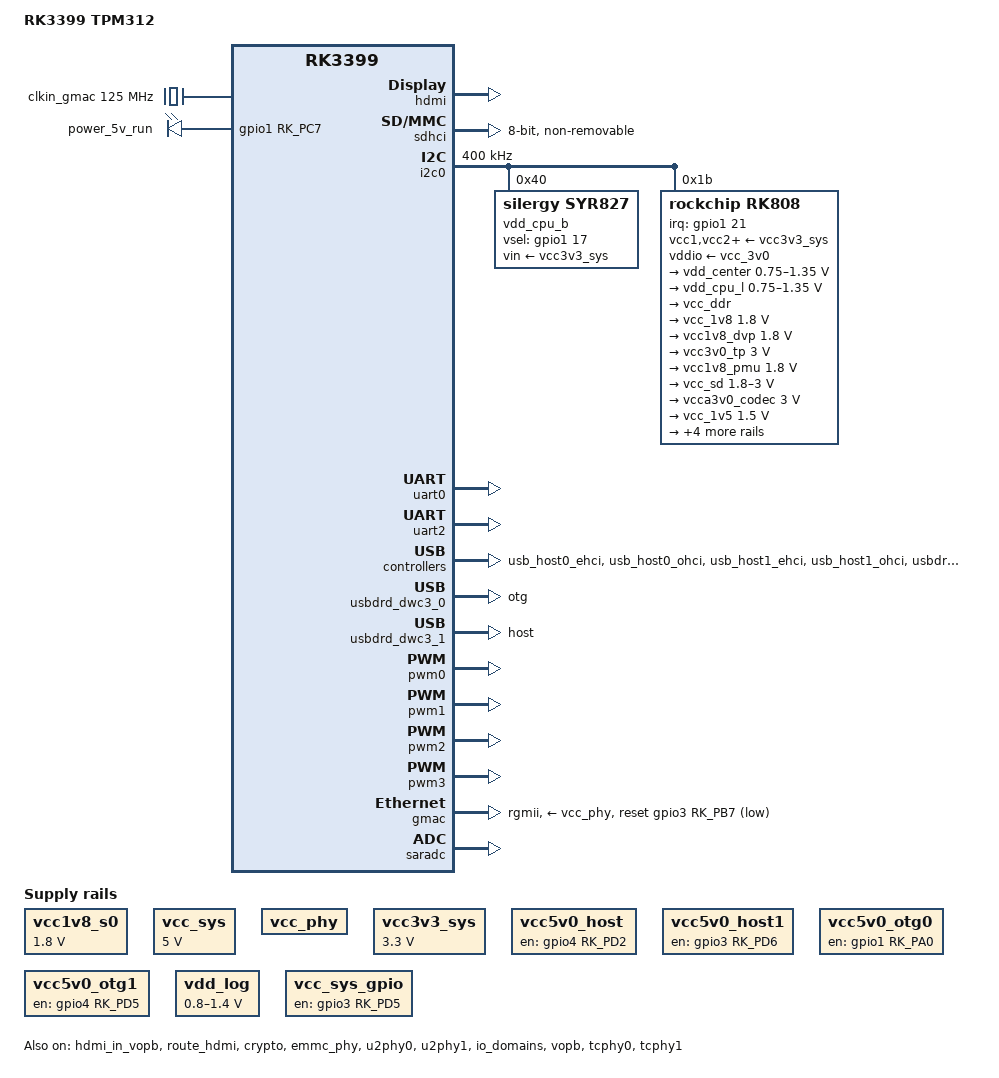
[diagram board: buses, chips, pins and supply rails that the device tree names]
/*
 * (C) Copyright 2016 Rockchip Electronics Co., Ltd
 *
 * SPDX-License-Identifier:     GPL-2.0+
 */

/dts-v1/;
#include <dt-bindings/pwm/pwm.h>
#include <dt-bindings/pinctrl/rockchip.h>
#include "rk3399.dtsi"
#include "rk3399-u-boot.dtsi"
#include <linux/media-bus-format.h>
#include <dt-bindings/input/input.h>

/ {
    model = "RK3399 TPM312";
    compatible = "rk3399,tpm312", "rockchip,rk3399";


    vcc1v8_s0: vcc1v8-s0 {
        compatible = "regulator-fixed";
        regulator-name = "vcc1v8_s0";
        regulator-min-microvolt = <1800000>;
        regulator-max-microvolt = <1800000>;
        regulator-always-on;
    };

    vcc_sys: vcc-sys {
        compatible = "regulator-fixed";
        regulator-name = "vcc_sys";
        regulator-min-microvolt = <5000000>;
        regulator-max-microvolt = <5000000>;
        regulator-always-on;
    };

    vcc_phy: vcc-phy-regulator {
        compatible = "regulator-fixed";
        regulator-name = "vcc_phy";
        regulator-always-on;
        regulator-boot-on;
    };

    vcc3v3_sys: vcc3v3-sys {
        compatible = "regulator-fixed";
        regulator-name = "vcc3v3_sys";
        regulator-min-microvolt = <3300000>;
        regulator-max-microvolt = <3300000>;
        regulator-always-on;
    };

    vcc5v0_host: vcc5v0-host0-regulator {
        pinctrl-0 = <&host0_vbus_drv>;
        gpio = <&gpio4 RK_PD2 GPIO_ACTIVE_HIGH>;
        regulator-name = "vcc5v0_host";
        enable-active-high;
        compatible = "regulator-fixed";
        pinctrl-names = "default";
        regulator-always-on;
    };

    vcc5v0_host1: vcc5v0-host1-regulator {
        pinctrl-0 = <&host1_vbus_drv>;
        gpio = <&gpio3 RK_PD6 GPIO_ACTIVE_HIGH>;
        regulator-name = "vcc5v0_host1";
        enable-active-high;
        compatible = "regulator-fixed";
        pinctrl-names = "default";
        regulator-always-on;
    };

    vcc5v0_otg0: vcc5v0-otg0-regulator {
        pinctrl-0 = <&otg0_vbus_drv>;
        gpio = <&gpio1 RK_PA0 GPIO_ACTIVE_HIGH>;
        regulator-name = "vcc5v0_otg0";
        enable-active-high;
        compatible = "regulator-fixed";
        pinctrl-names = "default";
        regulator-always-on;
    };

    vcc5v0_otg1: vcc5v0-otg1-regulator {
        pinctrl-0 = <&otg1_vbus_drv>;
        gpio = <&gpio4 RK_PD5 GPIO_ACTIVE_HIGH>;
        regulator-name = "vcc5v0_otg1";
        enable-active-high;
        compatible = "regulator-fixed";
        pinctrl-names = "default";
        regulator-always-on;
    };

    vdd_log: vdd_log {
        compatible = "pwm-regulator";
        pwms = <&pwm3 0 25000 1>;
        regulator-name = "vdd_log";
        regulator-min-microvolt = <800000>;
        regulator-max-microvolt = <1400000>;
        regulator-always-on;
        regulator-boot-on;
        rockchip,pwm_id = <3>;
        rockchip,pwm_voltage = <900000>;
        //pwm-supply = <&vcc_sys>;
    };

    clkin_gmac: external-gmac-clock {
        compatible = "fixed-clock";
        clock-frequency = <125000000>;
        clock-output-names = "clkin_gmac";
        #clock-cells = <0>;
    };



    leds {
        compatible = "gpio-leds";
        pinctrl-names = "default";
        pinctrl-0 = <&leds_pins>;
        power5v-led {
            gpios = <&gpio1 RK_PC7 GPIO_ACTIVE_HIGH>;
            default-state = "on";
            label = "power_5v_run";
        };
    };

    vcc5v0-sys {
        regulator-boot-on;
        pinctrl-0 = <&vcc5sys_gpio>;
        gpio = <&gpio3 RK_PD5 GPIO_ACTIVE_HIGH>;
        regulator-name = "vcc_sys_gpio";
        enable-active-high;
        compatible = "regulator-fixed";
        pinctrl-names = "default";
        regulator-always-on;
    };
};

&hdmi {
    status = "okay";
    rockchip,phy-table =
        <74250000 0x8009 0x0004 0x0272>,
        <165000000 0x802b 0x0004 0x0209>,
        <297000000 0x8039 0x0005 0x028d>,
        <594000000 0x8039 0x0000 0x019d>,
        <000000000 0x0000 0x0000 0x0000>;
};


&hdmi_in_vopb{
    status = "okay";
};
&hdmi_in_vopl{
    status="disabled";
};

&route_hdmi {
    status = "okay";
};

&dp_in_vopb {
    status = "disabled";
};

&sdmmc {
    status = "disabled";
};
&crypto {
    status = "okay";
};


&emmc_phy {
    status = "okay";
};

&sdio0 {
    status = "disabled";
};

&sdhci {
    bus-width = <8>;
    mmc-hs400-1_8v;
    mmc-hs400-enhanced-strobe;
    supports-emmc;
    non-removable;
    keep-power-in-suspend;
    status = "okay";
};

&i2c0 {
    status = "okay";
    i2c-scl-rising-time-ns = <168>;
    i2c-scl-falling-time-ns = <4>;
    clock-frequency = <400000>;

    vdd_cpu_b: syr827@40 {
        compatible = "silergy,syr827";
        reg = <0x40>;
        regulator-compatible = "fan53555-reg";
        pinctrl-0 = <&vsel1_gpio>;
        vsel-gpios = <&gpio1 17 GPIO_ACTIVE_HIGH>;
        regulator-name = "vdd_cpu_b";
        regulator-min-microvolt = <712500>;
        regulator-max-microvolt = <1500000>;
        regulator-ramp-delay = <1000>;
        fcs,suspend-voltage-selector = <1>;
        regulator-always-on;
        regulator-boot-on;
        vin-supply = <&vcc3v3_sys>;
        regulator-state-mem {
            regulator-off-in-suspend;
        };
    };
    rk808: pmic@1b {
        compatible = "rockchip,rk808";
        reg = <0x1b>;
        interrupt-parent = <&gpio1>;
        interrupts = <21 IRQ_TYPE_LEVEL_LOW>;
        pinctrl-names = "default";
        pinctrl-0 = <&pmic_int_l &pmic_dvs2>;
        rockchip,system-power-controller;
        wakeup-source;
        #clock-cells = <1>;
        status = "okay";
        clock-output-names = "xin32k", "rk808-clkout2";

        vcc1-supply = <&vcc3v3_sys>;
        vcc2-supply = <&vcc3v3_sys>;
        vcc3-supply = <&vcc3v3_sys>;
        vcc4-supply = <&vcc3v3_sys>;
        vcc6-supply = <&vcc3v3_sys>;
        vcc7-supply = <&vcc3v3_sys>;
        vcc8-supply = <&vcc3v3_sys>;
        vcc9-supply = <&vcc3v3_sys>;
        vcc10-supply = <&vcc3v3_sys>;
        vcc11-supply = <&vcc3v3_sys>;
        vcc12-supply = <&vcc3v3_sys>;
        vddio-supply = <&vcc_3v0>;

        regulators {
            vdd_center: DCDC_REG1 {
                regulator-name = "vdd_center";
                regulator-min-microvolt = <750000>;
                regulator-max-microvolt = <1350000>;
                regulator-ramp-delay = <6001>;
                regulator-always-on;
                regulator-boot-on;
                regulator-state-mem {
                    regulator-off-in-suspend;
                };
            };

            vdd_cpu_l: DCDC_REG2 {
                regulator-name = "vdd_cpu_l";
                regulator-min-microvolt = <750000>;
                regulator-max-microvolt = <1350000>;
                regulator-ramp-delay = <6001>;
                regulator-always-on;
                regulator-boot-on;
                regulator-state-mem {
                    regulator-off-in-suspend;
                };
            };

            vcc_ddr: DCDC_REG3 {
                regulator-name = "vcc_ddr";
                regulator-always-on;
                regulator-boot-on;
                regulator-state-mem {
                    regulator-on-in-suspend;
                };
            };

            vcc_1v8: DCDC_REG4 {
                regulator-name = "vcc_1v8";
                regulator-min-microvolt = <1800000>;
                regulator-max-microvolt = <1800000>;
                regulator-always-on;
                regulator-boot-on;
                regulator-state-mem {
                    regulator-on-in-suspend;
                    regulator-suspend-microvolt = <1800000>;
                };
            };

            vcc1v8_dvp: LDO_REG1 {
                regulator-name = "vcc1v8_dvp";
                regulator-min-microvolt = <1800000>;
                regulator-max-microvolt = <1800000>;
                regulator-always-on;
                regulator-boot-on;
                regulator-state-mem {
                    regulator-on-in-suspend;
                };
            };

            vcc3v0_tp: LDO_REG2 {
                regulator-name = "vcc3v0_tp";
                regulator-min-microvolt = <3000000>;
                regulator-max-microvolt = <3000000>;
                regulator-always-on;
                regulator-boot-on;
                regulator-state-mem {
                    regulator-off-in-suspend;
                };
            };

            vcc1v8_pmu: LDO_REG3 {
                regulator-name = "vcc1v8_pmu";
                regulator-min-microvolt = <1800000>;
                regulator-max-microvolt = <1800000>;
                regulator-always-on;
                regulator-boot-on;
                regulator-state-mem {
                    regulator-on-in-suspend;
                    regulator-suspend-microvolt = <1800000>;
                };
            };

            vcc_sd: LDO_REG4 {
                regulator-name = "vcc_sd";
                regulator-min-microvolt = <1800000>;
                regulator-max-microvolt = <3000000>;
                regulator-always-on;
                regulator-boot-on;
                regulator-state-mem {
                    regulator-on-in-suspend;
                    regulator-suspend-microvolt = <3000000>;
                };
            };

            vcca3v0_codec: LDO_REG5 {
                regulator-name = "vcca3v0_codec";
                regulator-min-microvolt = <3000000>;
                regulator-max-microvolt = <3000000>;
                regulator-always-on;
                regulator-boot-on;
                regulator-state-mem {
                    regulator-off-in-suspend;
                };
            };

            vcc_1v5: LDO_REG6 {
                regulator-name = "vcc_1v5";
                regulator-min-microvolt = <1500000>;
                regulator-max-microvolt = <1500000>;
                regulator-always-on;
                regulator-boot-on;
                regulator-state-mem {
                    regulator-on-in-suspend;
                    regulator-suspend-microvolt = <1500000>;
                };
            };

            vcca1v8_codec: LDO_REG7 {
                regulator-name = "vcca1v8_codec";
                regulator-min-microvolt = <1800000>;
                regulator-max-microvolt = <1800000>;
                regulator-always-on;
                regulator-boot-on;
                regulator-state-mem {
                    regulator-off-in-suspend;
                };
            };

            vcc_3v0: LDO_REG8 {
                regulator-name = "vcc_3v0";
                regulator-min-microvolt = <3000000>;
                regulator-max-microvolt = <3000000>;
                regulator-always-on;
                regulator-boot-on;
                regulator-state-mem {
                    regulator-on-in-suspend;
                    regulator-suspend-microvolt = <3000000>;
                };
            };

            vcc3v3_s3: SWITCH_REG1 {
                regulator-name = "vcc3v3_s3";
                regulator-always-on;
                regulator-boot-on;
                regulator-state-mem {
                    regulator-off-in-suspend;
                };
            };

            vcc3v3_s0: SWITCH_REG2 {
                regulator-name = "vcc3v3_s0";
                regulator-always-on;
                regulator-boot-on;
                regulator-state-mem {
                    regulator-off-in-suspend;
                };
            };
        };
    };
};

&cpu_l0 {
    cpu-supply = <&vdd_cpu_l>;
};

&cpu_l1 {
    cpu-supply = <&vdd_cpu_l>;
};

&cpu_l2 {
    cpu-supply = <&vdd_cpu_l>;
};

&cpu_l3 {
    cpu-supply = <&vdd_cpu_l>;
};

&cpu_b0 {
    cpu-supply = <&vdd_cpu_b>;
};

&cpu_b1 {
    cpu-supply = <&vdd_cpu_b>;
};

&u2phy0 {
    status = "okay";

    u2phy0_otg: otg-port {
        vbus-supply = <&vcc5v0_otg0>;
        status = "okay";
    };

    u2phy0_host: host-port {
        vbus-supply = <&host0_vbus_drv>;
        status = "okay";
    };
};

&u2phy1 {
    status = "okay";

    u2phy1_otg: otg-port {
        vbus-supply = <&vcc5v0_otg1>;
        status = "okay";
    };

    u2phy1_host: host-port {
        vbus-supply = <&host1_vbus_drv>;
        status = "okay";
    };
};

&uart0 {
    pinctrl-names = "default";
    status = "okay";
};

&uart1 {
    status = "disabled";
};

&uart2 {
    status = "okay";
};


&usb_host0_ehci {
    status = "okay";
};

&usb_host0_ohci {
    status = "okay";
};

&usb_host1_ehci {
    status = "okay";
};

&usb_host1_ohci {
    status = "okay";
};

&usbdrd3_0 {
    extcon = <&u2phy0>;
    status = "okay";
};

&usbdrd_dwc3_0 {
    dr_mode = "otg";
    status = "okay";
};

&usbdrd3_1 {
    status = "okay";
};

&usbdrd_dwc3_1 {
    dr_mode = "host";
    status = "okay";
};


&pwm0 {
    status = "okay";
};

&pwm1 {
    status = "okay";
};

&pwm2 {
    status = "okay";
};

&pwm3 {
    status = "okay";
};

&gmac {
    assigned-clocks = <&cru SCLK_RMII_SRC>;
    assigned-clock-parents = <&clkin_gmac>;
    clock_in_out = "input";
    phy-supply = <&vcc_phy>;
    phy-mode = "rgmii";
    pinctrl-names = "default";
    pinctrl-0 = <&rgmii_pins>;
    snps,reset-gpio = <&gpio3 RK_PB7 GPIO_ACTIVE_LOW>;
    snps,reset-active-low;
    snps,reset-delays-us = <0 10000 50000>;
    tx_delay = <0x28>;
    rx_delay = <0x11>;
    status = "okay";
};

&saradc {
    status = "okay";
};


&io_domains {
    status = "okay";
    audio-supply = <&vcca1v8_codec>;
    bt656-supply = <&vcc1v8_dvp>;
    gpio1830-supply = <&vcc_3v0>;
    sdmmc-supply = <&vcc_sd>;
};


&pinctrl {

    gmac {
        rgmii_sleep_pins: rgmii-sleep-pins {
            rockchip,pins =
                <3 RK_PB7 RK_FUNC_GPIO &pcfg_output_low>;
        };
    };

    pmic {
        vcc5sys_gpio: vcc5sys-gpio {
                rockchip,pins = <3 RK_PD5 RK_FUNC_GPIO &pcfg_pull_down>;
        };

        pmic_int_l: pmic-int-l {
            rockchip,pins =
                <1 RK_PC6 RK_FUNC_GPIO &pcfg_pull_up>;
        };

        pmic_dvs2: pmic-dvs2 {
            rockchip,pins =
                <1 RK_PA5 RK_FUNC_GPIO &pcfg_pull_down>;
        };

        vsel1_gpio: vsel1-gpio {
            rockchip,pins =
                <1 RK_PC1 RK_FUNC_GPIO &pcfg_pull_down>;
        };
        vsel2_gpio: vsel2-gpio {
            rockchip,pins =
                <1 RK_PB6 RK_FUNC_GPIO &pcfg_pull_down>;
        };
    };

    u2phy0 {
        otg0_vbus_drv: otg0-vbus-drv {
            rockchip,pins = <1 RK_PA0 RK_FUNC_GPIO &pcfg_pull_none>;
        };
        host0_vbus_drv: host0-vbus-drv {
            rockchip,pins = <4 RK_PD2 RK_FUNC_GPIO &pcfg_pull_none>;
        };
    };

    u2phy1 {
        otg1_vbus_drv: otg1-vbus-drv {
            rockchip,pins = <4 RK_PD5 RK_FUNC_GPIO &pcfg_pull_none>;
        };
        host1_vbus_drv: host1-vbus-drv {
            rockchip,pins = <3 RK_PD6 RK_FUNC_GPIO &pcfg_pull_none>;
        };
    };


    leds {
        leds_pins: leds-pins {
            rockchip,pins = <1 RK_PC7 RK_FUNC_GPIO &pcfg_pull_up>;
        };
    };
};







&vopb {
    assigned-clocks = <&cru DCLK_VOP0_DIV>;
    assigned-clock-parents = <&cru PLL_VPLL>;
    status = "okay";
    rockchip,grf = <&grf>;
};

&vopl {
    assigned-clocks = <&cru DCLK_VOP1_DIV>;
    assigned-clock-parents = <&cru PLL_CPLL>;
    status = "disabled";
    rockchip,grf = <&grf>;
};


&tcphy0 {
    status = "okay";
};

&tcphy1 {
    status = "okay";
};
